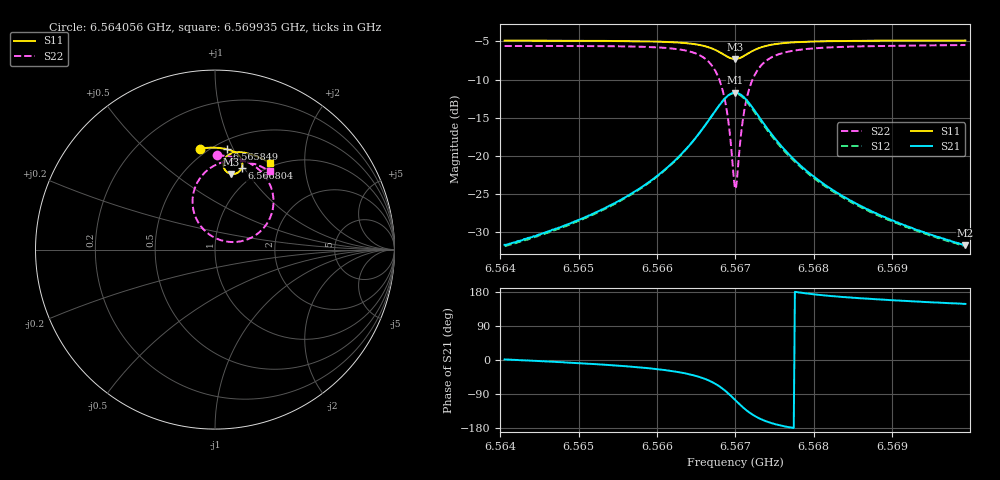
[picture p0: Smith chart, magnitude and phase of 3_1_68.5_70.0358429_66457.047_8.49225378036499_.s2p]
#  HZ  S  RI  R  50.00
! Rohde & Schwarz Vector Network Analyzer
! Rohde-Schwarz,ZNB20-2Port,1311601062101988,3.16
! Created: UTC 3/20/2024, 5:03:50 PM
! freq[Hz]  re:S11  im:S11  re:S21  im:S21  re:S12  im:S12  re:S22  im:S22
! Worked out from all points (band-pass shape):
!   401 points, 6.564056 GHz to 6.569935 GHz, reference 50 ohm
!   highest |S21| = -11.72 dB at 6.566996 GHz (marker M1); lowest = -31.7 dB at 6.569935 GHz (marker M2)
!   |S21| within 3 dB of the highest: 6.566703 GHz to 6.56729 GHz (587.5 kHz wide, 0.00895 % of centre)
!   lowest |S11| = -7.3 dB at 6.566996 GHz (marker M3), VSWR 2.52, Z = 40.3 + j41.8 ohm
!   |S11| at or under -10 dB: nowhere
!   |S22| runs from -24.3 to -5.5 dB; largest |S21 - S12| = 0.012
!   S11 on the Smith chart (normalised r, x): 6.564056 GHz: 0.45, +0.75; 6.565849 GHz: 0.58, +0.94; 6.566804 GHz: 0.83, +0.97; 6.569935 GHz: 0.94, +1.35
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6.5640557e9  -0.0858 0.5625  0.026 0.000685  0.0255 0.000286  0.0129 0.5248
6.5650406e9  -0.00654 0.568  0.0381 -0.00589  0.0376 -0.00644  0.1025 0.5148
6.565849e9  0.0659 0.5594  0.0602 -0.0229  0.0593 -0.0237  0.1979 0.4793
6.5660254e9  0.0837 0.5544  0.0684 -0.0316  0.0673 -0.0322  0.2249 0.4617
6.5663488e9  0.1191 0.5366  0.0882 -0.0612  0.0867 -0.0624  0.283 0.4028
6.5665693e9  0.1438 0.5101  0.1011 -0.1071  0.0989 -0.1089  0.3212 0.3146
6.5667016e9  0.1528 0.4823  0.0971 -0.1554  0.0934 -0.1581  0.3212 0.2223
6.5668045e9  0.1482 0.4533  0.0716 -0.2049  0.0654 -0.2078  0.2779 0.1289
6.5668927e9  0.1283 0.4297  0.0209 -0.2437  0.0117 -0.2442  0.186 0.0589
6.5669221e9  0.1182 0.4245  -0.00254 -0.2513  -0.0125 -0.2507  0.1439 0.0462
6.5669809e9  0.0944 0.4211  -0.0546 -0.2531  -0.0648 -0.2489  0.0516 0.0472
6.5669956e9  0.0883 0.422  -0.0677 -0.2503  -0.0778 -0.2452  0.0288 0.0534
6.567025e9  0.0766 0.4258  -0.0928 -0.2407  -0.102 -0.234  -0.0139 0.0729
6.5670838e9  0.0578 0.4406  -0.1336 -0.2097  -0.1401 -0.2003  -0.0805 0.1322
6.5671279e9  0.0495 0.4551  -0.1534 -0.1804  -0.1575 -0.1705  -0.11 0.1859
6.5671866e9  0.0456 0.4749  -0.1661 -0.1411  -0.1673 -0.1315  -0.1249 0.2558
6.5672748e9  0.0513 0.5001  -0.1645 -0.0918  -0.1632 -0.0842  -0.1129 0.341
6.5675394e9  0.0909 0.5355  -0.1221 -0.0194  -0.1194 -0.0161  -0.0167 0.4605
6.5679804e9  0.1474 0.5421  -0.0739 0.00813  -0.0721 0.00908  0.0977 0.4962
6.568392e9  0.1877 0.5347  -0.0519 0.013  -0.0508 0.0135  0.1627 0.4926
6.5689652e9  0.2353 0.5185  -0.0356 0.0142  -0.0348 0.0145  0.2267 0.4752
6.5699354e9  0.3052 0.4826  -0.022 0.0137  -0.0214 0.0138  0.3069 0.4355
